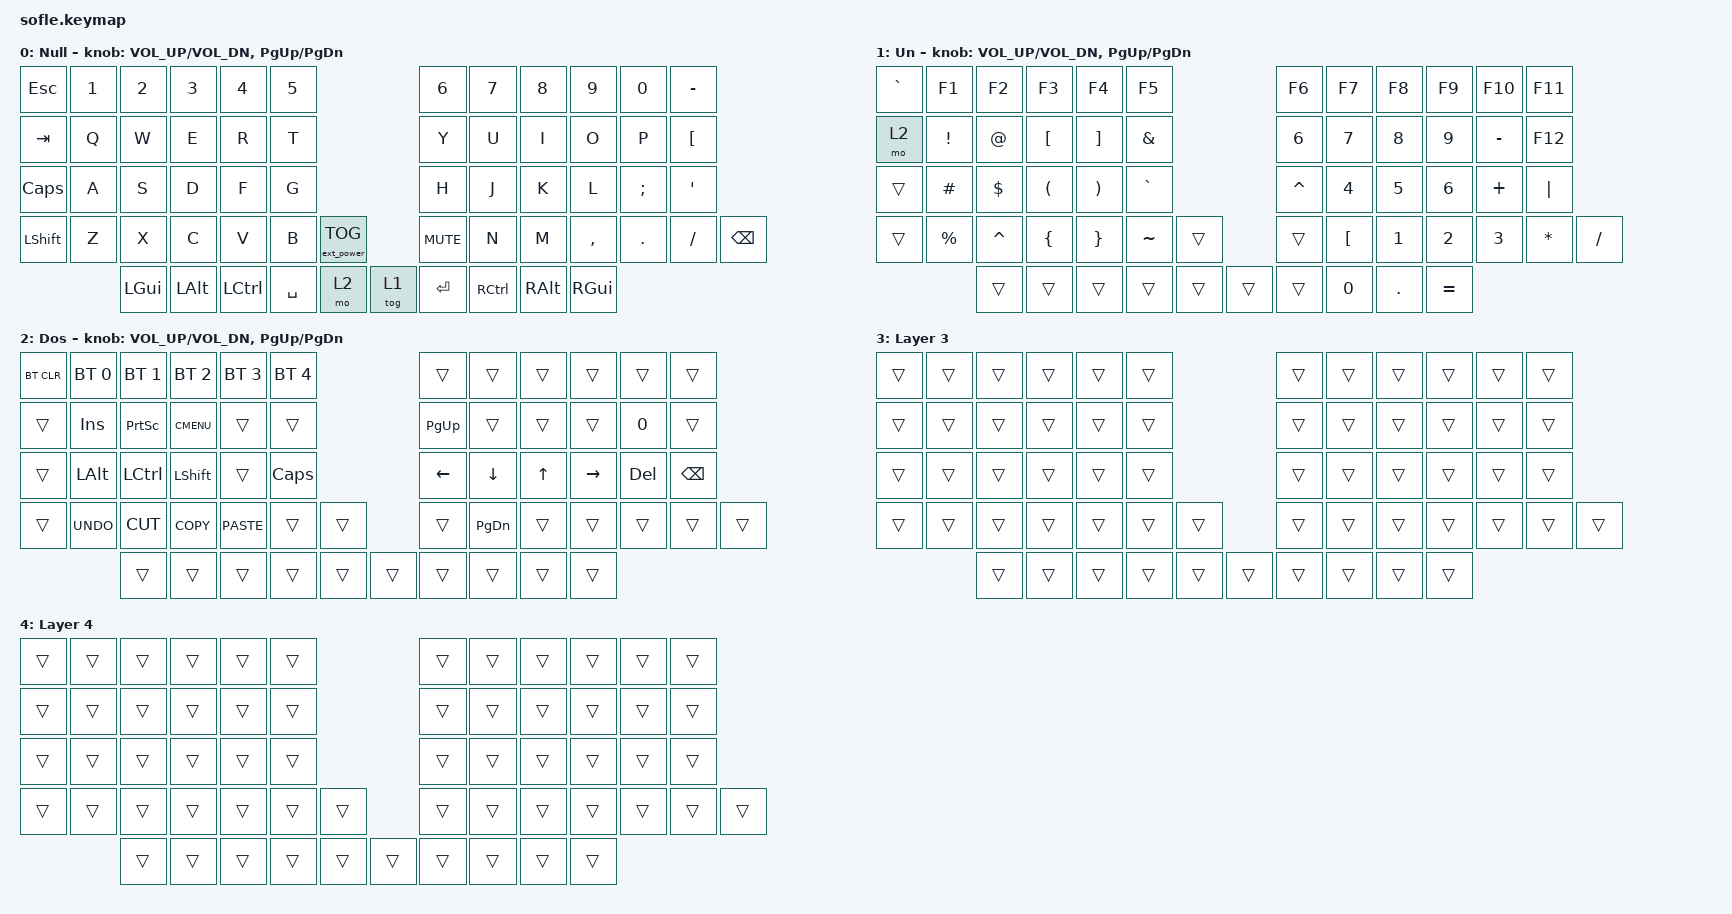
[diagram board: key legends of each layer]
/*
 * Copyright (c) 2020 The ZMK Contributors
 *
 * SPDX-License-Identifier: MIT
 */

#include <dt-bindings/zmk/ext_power.h>
#include <behaviors.dtsi>
#include <dt-bindings/zmk/bt.h>
#include <dt-bindings/zmk/keys.h>

/* &nice_view_spi { cs-gpios = <&pro_micro 0 GPIO_ACTIVE_HIGH>; };
*/

/ {
    keymap {
        compatible = "zmk,keymap";

        default_layer {
            display-name = "Null";

            // ------------------------------------------------------------------------------------------------------------
            // |  `    |  1  |  2  |  3   |  4   |  5   |                   |  6   |  7    |  8    |  9   |   0   |       |
            // |  ESC  |  Q  |  W  |  E   |  R   |  T   |                   |  Y   |  U    |  I    |  O   |   P   | BKSPC |
            // |  TAB  |  A  |  S  |  D   |  F   |  G   |                   |  H   |  J    |  K    |  L   |   ;   |   '   |
            // | SHIFT |  Z  |  X  |  C   |  V   |  B   |  EXTP  |  |       |  N   |  M    |  ,    |  .   |   /   | SHIFT |
            //               | GUI | ALT  | CTRL | LOWER|  MO2   |  |   MO1 | RAISE| CTRL  | ALT   | GUI  |

            bindings = <
&kp ESCAPE    &kp N1  &kp N2    &kp N3    &kp N4     &kp N5                               &kp N6     &kp N7     &kp N8     &kp N9    &kp N0    &kp MINUS
&kp TAB       &kp Q   &kp W     &kp E     &kp R      &kp T                                &kp Y      &kp U      &kp I      &kp O     &kp P     &kp LEFT_BRACKET
&kp CAPSLOCK  &kp A   &kp S     &kp D     &kp F      &kp G                                &kp H      &kp J      &kp K      &kp L     &kp SEMI  &kp SQT
&kp LSHFT     &kp Z   &kp X     &kp C     &kp V      &kp B      &ext_power EP_TOG    &kp C_MUTE  &kp N      &kp M      &kp COMMA  &kp DOT   &kp FSLH  &kp BACKSPACE
                      &kp LGUI  &kp LALT  &kp LCTRL  &kp SPACE  &mo 2         &tog 1       &kp ENTER  &kp RCTRL  &kp RALT   &kp RGUI
            >;

            sensor-bindings = <&inc_dec_kp C_VOL_UP C_VOL_DN &inc_dec_kp PG_UP PG_DN>;
        };

        lower_layer {
            display-name = "Un";

            // TODO: Some binds are waiting for shifted keycode support.
            // ------------------------------------------------------------------------------------------------------------
            // | `     |  F1 |  F2 |  F3  |  F4  |  F5  |                   |  F6  |  F7   |  F8   |  F9  |  F10  |  F11  |
            // | RAISE |   1 |   2 |   3  |   4  |   5  |                   |   6  |   7   |   8   |   9  |    0  |  F12  |
            // |       |  !  |  @  |  #   |  $   |  %   |                   |  ^   |  &    |  *    |  (   |   )   |   |   |
            // |       |  =  |  -  |  +   |  {   |  }   |        |  |       |  [   |  ]    |  ;    |  :   |   \   |       |
            //               |     |      |      |      |        |  |       |      |       |       |      |

            bindings = <
&kp GRAVE  &kp F1           &kp F2       &kp F3                &kp F4                 &kp F5                           &kp F6     &kp F7        &kp F8        &kp F9        &kp F10       &kp F11
&mo 2      &kp EXCLAMATION  &kp AT_SIGN  &kp LEFT_BRACKET      &kp RIGHT_BRACKET      &kp AMPERSAND                    &kp N6     &kp N7        &kp N8        &kp N9        &kp MINUS     &kp F12
&trans     &kp HASH         &kp DOLLAR   &kp LEFT_PARENTHESIS  &kp RIGHT_PARENTHESIS  &kp GRAVE                        &kp CARET  &kp NUMBER_4  &kp N5        &kp NUMBER_6  &kp PLUS      &kp PIPE
&trans     &kp PERCENT      &kp CARET    &kp LEFT_BRACE        &kp RIGHT_BRACE        &kp TILDE      &trans    &trans  &kp LBKT   &kp NUMBER_1  &kp NUMBER_2  &kp NUMBER_3  &kp ASTERISK  &kp SLASH
                            &trans       &trans                &trans                 &trans         &trans    &trans  &trans     &kp N0        &kp PERIOD    &kp EQUAL
            >;

            sensor-bindings = <&inc_dec_kp C_VOL_UP C_VOL_DN &inc_dec_kp PG_UP PG_DN>;
        };

        raise_layer {
            display-name = "Dos";

            // ------------------------------------------------------------------------------------------------------------
            // |BTCLR| BT1  | BT2  |  BT3  |  BT4  |  BT5 |                |      |      |       |      |       |       |
            // |     | INS  | PSCR | GUI   |       |      |                | PGUP |      |       |      |       |       |
            // |     | ALT  | CTRL | SHIFT |       | CAPS |                |  <-  |   v  |   ^   |  ->  |  DEL  | BKSPC |
            // |     | UNDO | CUT  | COPY  | PASTE |      |      |  |      |      |      |       |      |       |       |
            //              |      |       |       |      |      |  |      |      |      |       |      |

            bindings = <
&bt BT_CLR  &bt BT_SEL 0  &bt BT_SEL 1  &bt BT_SEL 2  &bt BT_SEL 3  &bt BT_SEL 4                    &trans         &trans    &trans  &trans     &trans   &trans
&trans      &kp INS       &kp PSCRN     &kp K_CMENU   &trans        &trans                          &kp PG_UP      &trans    &trans  &trans     &kp N0   &trans
&trans      &kp LALT      &kp LCTRL     &kp LSHFT     &trans        &kp CLCK                        &kp LEFT       &kp DOWN  &kp UP  &kp RIGHT  &kp DEL  &kp BSPC
&trans      &kp K_UNDO    &kp K_CUT     &kp K_COPY    &kp K_PASTE   &trans        &trans    &trans  &kp PAGE_DOWN  &trans    &trans  &trans     &trans   &trans
                          &trans        &trans        &trans        &trans        &trans    &trans  &trans         &trans    &trans  &trans
            >;

            sensor-bindings = <&inc_dec_kp C_VOL_UP C_VOL_DN &inc_dec_kp PG_UP PG_DN>;
        };

        layer_3 {
            display-name = "Layer 3";
            bindings = <
&trans  &trans  &trans  &trans  &trans  &trans                    &trans  &trans  &trans  &trans  &trans  &trans
&trans  &trans  &trans  &trans  &trans  &trans                    &trans  &trans  &trans  &trans  &trans  &trans
&trans  &trans  &trans  &trans  &trans  &trans                    &trans  &trans  &trans  &trans  &trans  &trans
&trans  &trans  &trans  &trans  &trans  &trans  &trans    &trans  &trans  &trans  &trans  &trans  &trans  &trans
                &trans  &trans  &trans  &trans  &trans    &trans  &trans  &trans  &trans  &trans
            >;
        };

        layer_4 {
            display-name = "Layer 4";
            bindings = <
&trans  &trans  &trans  &trans  &trans  &trans                    &trans  &trans  &trans  &trans  &trans  &trans
&trans  &trans  &trans  &trans  &trans  &trans                    &trans  &trans  &trans  &trans  &trans  &trans
&trans  &trans  &trans  &trans  &trans  &trans                    &trans  &trans  &trans  &trans  &trans  &trans
&trans  &trans  &trans  &trans  &trans  &trans  &trans    &trans  &trans  &trans  &trans  &trans  &trans  &trans
                &trans  &trans  &trans  &trans  &trans    &trans  &trans  &trans  &trans  &trans
            >;
        };
    };
};
